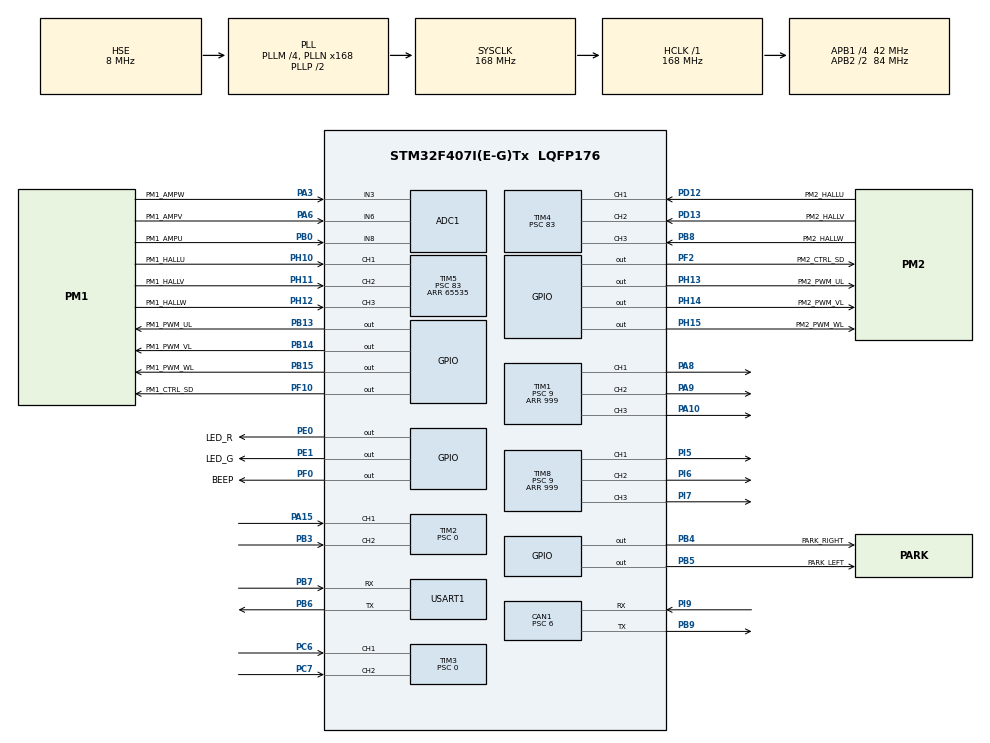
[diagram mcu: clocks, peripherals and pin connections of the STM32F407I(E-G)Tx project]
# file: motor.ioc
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ADC1.Channel-0\#ChannelRegularConversion=ADC_CHANNEL_8
ADC1.Channel-4\#ChannelRegularConversion=ADC_CHANNEL_6
ADC1.Channel-5\#ChannelRegularConversion=ADC_CHANNEL_3
ADC1.ClockPrescaler=ADC_CLOCK_SYNC_PCLK_DIV8
ADC1.ContinuousConvMode=ENABLE
ADC1.DMAContinuousRequests=ENABLE
ADC1.EOCSelection=ADC_EOC_SEQ_CONV
ADC1.ExternalTrigConv=ADC_SOFTWARE_START
ADC1.InjNumberOfConversion=0
ADC1.NbrOfConversion=3
ADC1.NbrOfConversionFlag=1
ADC1.Rank-0\#ChannelRegularConversion=1
ADC1.Rank-4\#ChannelRegularConversion=2
ADC1.Rank-5\#ChannelRegularConversion=3
ADC1.SamplingTime-0\#ChannelRegularConversion=ADC_SAMPLETIME_480CYCLES
ADC1.SamplingTime-4\#ChannelRegularConversion=ADC_SAMPLETIME_480CYCLES
ADC1.SamplingTime-5\#ChannelRegularConversion=ADC_SAMPLETIME_480CYCLES
ADC1.ScanConvMode=ENABLE
ADC1.master=1
CAN1.ABOM=ENABLE
CAN1.BS1=CAN_BS1_4TQ
CAN1.BS2=CAN_BS2_2TQ
CAN1.CalculateBaudRate=1000000
CAN1.CalculateTimeBit=1000
CAN1.CalculateTimeQuantum=142.85714285714286
CAN1.Prescaler=6
Dma.ADC1.2.Direction=DMA_PERIPH_TO_MEMORY
Dma.ADC1.2.FIFOMode=DMA_FIFOMODE_DISABLE
Dma.ADC1.2.Instance=DMA2_Stream0
Dma.ADC1.2.MemDataAlignment=DMA_MDATAALIGN_HALFWORD
Dma.ADC1.2.MemInc=DMA_MINC_ENABLE
Dma.ADC1.2.Mode=DMA_CIRCULAR
Dma.ADC1.2.PeriphDataAlignment=DMA_PDATAALIGN_HALFWORD
Dma.ADC1.2.PeriphInc=DMA_PINC_DISABLE
Dma.ADC1.2.Priority=DMA_PRIORITY_LOW
Dma.Request0=USART1_TX
Dma.Request1=USART1_RX
Dma.Request2=ADC1
Dma.USART1_RX.1.Direction=DMA_PERIPH_TO_MEMORY
Dma.USART1_RX.1.FIFOMode=DMA_FIFOMODE_DISABLE
Dma.USART1_RX.1.Instance=DMA2_Stream2
Dma.USART1_RX.1.MemDataAlignment=DMA_MDATAALIGN_BYTE
Dma.USART1_RX.1.MemInc=DMA_MINC_ENABLE
Dma.USART1_RX.1.Mode=DMA_NORMAL
Dma.USART1_RX.1.PeriphDataAlignment=DMA_PDATAALIGN_BYTE
Dma.USART1_RX.1.PeriphInc=DMA_PINC_DISABLE
Dma.USART1_RX.1.Priority=DMA_PRIORITY_LOW
Dma.USART1_TX.0.Direction=DMA_MEMORY_TO_PERIPH
Dma.USART1_TX.0.FIFOMode=DMA_FIFOMODE_DISABLE
Dma.USART1_TX.0.Instance=DMA2_Stream7
Dma.USART1_TX.0.MemDataAlignment=DMA_MDATAALIGN_BYTE
Dma.USART1_TX.0.MemInc=DMA_MINC_ENABLE
Dma.USART1_TX.0.Mode=DMA_NORMAL
Dma.USART1_TX.0.PeriphDataAlignment=DMA_PDATAALIGN_BYTE
Dma.USART1_TX.0.PeriphInc=DMA_PINC_DISABLE
Dma.USART1_TX.0.Priority=DMA_PRIORITY_LOW
FREERTOS.Tasks01=defaultTask,24,128,StartDefaultTask,Default,NULL,Dynamic,NULL,NULL
FREERTOS.configGENERATE_RUN_TIME_STATS=1
FREERTOS.configRECORD_STACK_HIGH_ADDRESS=1
FREERTOS.configTIMER_TASK_PRIORITY=25
FREERTOS.configTIMER_TASK_STACK_DEPTH=512
Mcu.Family=STM32F4
Mcu.Name=STM32F407I(E-G)Tx
Mcu.Package=LQFP176
NVIC.ADC_IRQn=true\:5\:0\:false\:false\:true\:true\:true\:true\:true
NVIC.CAN1_RX0_IRQn=true\:7\:0\:true\:false\:true\:true\:true\:true\:true
NVIC.CAN1_TX_IRQn=true\:7\:0\:true\:false\:true\:true\:true\:true\:true
NVIC.DMA2_Stream0_IRQn=true\:5\:0\:false\:false\:true\:true\:false\:true\:true
NVIC.DMA2_Stream2_IRQn=true\:5\:0\:true\:false\:true\:true\:false\:true\:true
NVIC.DMA2_Stream7_IRQn=true\:5\:0\:true\:false\:true\:true\:false\:true\:true
NVIC.PriorityGroup=NVIC_PRIORITYGROUP_4
NVIC.TIM1_UP_TIM10_IRQn=true\:5\:0\:true\:false\:true\:true\:true\:true\:true
NVIC.TIM4_IRQn=true\:5\:0\:true\:false\:true\:true\:true\:true\:true
NVIC.TIM5_IRQn=true\:5\:0\:true\:false\:true\:true\:true\:true\:true
NVIC.TIM7_IRQn=true\:0\:0\:true\:false\:true\:false\:false\:true\:true
NVIC.TIM8_UP_TIM13_IRQn=true\:5\:0\:true\:false\:true\:true\:true\:true\:true
NVIC.TimeBase=TIM7_IRQn
NVIC.TimeBaseIP=TIM7
NVIC.USART1_IRQn=true\:7\:0\:true\:false\:true\:true\:true\:true\:true
PA10.GPIO_Speed=GPIO_SPEED_FREQ_VERY_HIGH
PA10.Signal=S_TIM1_CH3
PA13.Mode=Serial_Wire
PA13.Signal=SYS_JTMS-SWDIO
PA14.Mode=Serial_Wire
PA14.Signal=SYS_JTCK-SWCLK
PA15.Signal=S_TIM2_CH1_ETR
PA3.GPIO_Label=PM1_AMPW 
PA3.Signal=ADCx_IN3
PA6.GPIO_Label=PM1_AMPV
PA6.Signal=ADCx_IN6
PA8.GPIO_Speed=GPIO_SPEED_FREQ_VERY_HIGH
PA8.Signal=S_TIM1_CH1
PA9.GPIO_Speed=GPIO_SPEED_FREQ_VERY_HIGH
PA9.Signal=S_TIM1_CH2
PB0.GPIO_Label=PM1_AMPU
PB0.Signal=ADCx_IN8
PB13.GPIO_Label=PM1_PWM_UL
PB13.GPIO_Speed=GPIO_SPEED_FREQ_VERY_HIGH
PB13.Signal=GPIO_Output
PB14.GPIO_Label=PM1_PWM_VL
PB14.GPIO_Speed=GPIO_SPEED_FREQ_VERY_HIGH
PB14.Signal=GPIO_Output
PB15.GPIO_Label=PM1_PWM_WL
PB15.GPIO_Speed=GPIO_SPEED_FREQ_VERY_HIGH
PB15.Signal=GPIO_Output
PB3.Signal=S_TIM2_CH2
PB4.GPIO_Label=PARK_RIGHT
PB4.GPIO_PuPd=GPIO_PULLUP
PB4.PinState=GPIO_PIN_RESET
PB4.Signal=GPIO_Output
PB5.GPIO_Label=PARK_LEFT
PB5.GPIO_PuPd=GPIO_PULLUP
PB5.PinState=GPIO_PIN_RESET
PB5.Signal=GPIO_Output
PB6.Mode=Asynchronous
PB6.Signal=USART1_TX
PB7.Mode=Asynchronous
PB7.Signal=USART1_RX
PB8.GPIO_Label=PM2_HALLW
PB8.GPIO_PuPd=GPIO_NOPULL
PB8.GPIO_Speed=GPIO_SPEED_FREQ_VERY_HIGH
PB8.Signal=S_TIM4_CH3
PB9.Mode=CAN_Activate
PB9.Signal=CAN1_TX
PC6.Signal=S_TIM3_CH1
PC7.Signal=S_TIM3_CH2
PD12.GPIO_Label=PM2_HALLU
PD12.GPIO_PuPd=GPIO_NOPULL
PD12.GPIO_Speed=GPIO_SPEED_FREQ_VERY_HIGH
PD12.Signal=S_TIM4_CH1
PD13.GPIO_Label=PM2_HALLV
PD13.GPIO_Speed=GPIO_SPEED_FREQ_VERY_HIGH
PD13.Signal=S_TIM4_CH2
PE0.GPIO_Label=LED_R
PE0.GPIO_ModeDefaultOutputPP=GPIO_MODE_OUTPUT_OD
PE0.GPIO_PuPd=GPIO_PULLUP
PE0.PinState=GPIO_PIN_SET
PE0.Signal=GPIO_Output
PE1.GPIO_Label=LED_G
PE1.GPIO_ModeDefaultOutputPP=GPIO_MODE_OUTPUT_OD
PE1.GPIO_PuPd=GPIO_PULLUP
PE1.PinState=GPIO_PIN_SET
PE1.Signal=GPIO_Output
PF0.GPIO_Label=BEEP
PF0.GPIO_PuPd=GPIO_PULLUP
PF0.Signal=GPIO_Output
PF10.GPIO_Label=PM1_CTRL_SD
PF10.GPIO_Speed=GPIO_SPEED_FREQ_HIGH
PF10.PinState=GPIO_PIN_RESET
PF10.Signal=GPIO_Output
PF2.GPIO_Label=PM2_CTRL_SD
PF2.GPIO_Speed=GPIO_SPEED_FREQ_HIGH
PF2.Signal=GPIO_Output
PH0-OSC_IN.Mode=HSE-External-Oscillator
PH0-OSC_IN.Signal=RCC_OSC_IN
PH1-OSC_OUT.Mode=HSE-External-Oscillator
PH1-OSC_OUT.Signal=RCC_OSC_OUT
PH10.GPIO_Label=PM1_HALLU
PH10.GPIO_PuPd=GPIO_NOPULL
PH10.GPIO_Speed=GPIO_SPEED_FREQ_VERY_HIGH
PH10.Signal=S_TIM5_CH1
PH11.GPIO_Label=PM1_HALLV
PH11.GPIO_PuPd=GPIO_NOPULL
PH11.GPIO_Speed=GPIO_SPEED_FREQ_VERY_HIGH
PH11.Signal=S_TIM5_CH2
PH12.GPIO_Label=PM1_HALLW
PH12.GPIO_PuPd=GPIO_NOPULL
PH12.GPIO_Speed=GPIO_SPEED_FREQ_VERY_HIGH
PH12.Signal=S_TIM5_CH3
PH13.GPIO_Label=PM2_PWM_UL
PH13.GPIO_Speed=GPIO_SPEED_FREQ_VERY_HIGH
PH13.Signal=GPIO_Output
PH14.GPIO_Label=PM2_PWM_VL
PH14.GPIO_Speed=GPIO_SPEED_FREQ_VERY_HIGH
PH14.Signal=GPIO_Output
PH15.GPIO_Label=PM2_PWM_WL
PH15.GPIO_Speed=GPIO_SPEED_FREQ_VERY_HIGH
PH15.Signal=GPIO_Output
PI5.Signal=S_TIM8_CH1
PI6.Signal=S_TIM8_CH2
PI7.Signal=S_TIM8_CH3
PI9.Mode=CAN_Activate
PI9.Signal=CAN1_RX
ProjectManager.HeapSize=0x400
ProjectManager.StackSize=0x800
ProjectManager.TargetToolchain=CMake
RCC.48MHZClocksFreq_Value=84000000
RCC.AHBFreq_Value=168000000
RCC.APB1CLKDivider=RCC_HCLK_DIV4
RCC.APB1Freq_Value=42000000
RCC.APB1TimFreq_Value=84000000
RCC.APB2CLKDivider=RCC_HCLK_DIV2
RCC.APB2Freq_Value=84000000
RCC.APB2TimFreq_Value=168000000
RCC.CortexFreq_Value=168000000
RCC.HCLKFreq_Value=168000000
RCC.HSE_VALUE=8000000
RCC.HSI_VALUE=16000000
RCC.LSE_VALUE=32768
RCC.PLLM=4
RCC.PLLN=168
RCC.PLLSourceVirtual=RCC_PLLSOURCE_HSE
RCC.SYSCLKFreq_VALUE=168000000
RCC.SYSCLKSource=RCC_SYSCLKSOURCE_PLLCLK
RCC.VCOOutputFreq_Value=336000000
SH.ADCx_IN3.0=ADC1_IN3,IN3
SH.ADCx_IN6.0=ADC1_IN6,IN6
SH.ADCx_IN8.0=ADC1_IN8,IN8
SH.S_TIM1_CH1.0=TIM1_CH1,PWM Generation1 CH1
SH.S_TIM1_CH2.0=TIM1_CH2,PWM Generation2 CH2
SH.S_TIM1_CH3.0=TIM1_CH3,PWM Generation3 CH3
SH.S_TIM2_CH1_ETR.0=TIM2_CH1,Encoder_Interface
SH.S_TIM2_CH2.0=TIM2_CH2,Encoder_Interface
SH.S_TIM3_CH1.0=TIM3_CH1,Encoder_Interface
SH.S_TIM3_CH2.0=TIM3_CH2,Encoder_Interface
SH.S_TIM4_CH1.0=TIM4_CH1,Xored_Inputs_Hall_Sensor_Interface
SH.S_TIM4_CH2.0=TIM4_CH2,Xored_Inputs_Hall_Sensor_Interface
SH.S_TIM4_CH3.0=TIM4_CH3,Xored_Inputs_Hall_Sensor_Interface
SH.S_TIM5_CH1.0=TIM5_CH1,Xored_Inputs_Hall_Sensor_Interface
SH.S_TIM5_CH2.0=TIM5_CH2,Xored_Inputs_Hall_Sensor_Interface
SH.S_TIM5_CH3.0=TIM5_CH3,Xored_Inputs_Hall_Sensor_Interface
SH.S_TIM8_CH1.0=TIM8_CH1,PWM Generation1 CH1
SH.S_TIM8_CH2.0=TIM8_CH2,PWM Generation2 CH2
SH.S_TIM8_CH3.0=TIM8_CH3,PWM Generation3 CH3
TIM1.Channel-PWM\ Generation1\ CH1=TIM_CHANNEL_1
TIM1.Channel-PWM\ Generation2\ CH2=TIM_CHANNEL_2
TIM1.Channel-PWM\ Generation3\ CH3=TIM_CHANNEL_3
TIM1.Period=999
TIM1.Prescaler=9
TIM2.EncoderMode=TIM_ENCODERMODE_TI12
TIM2.IC1Filter=4
TIM2.IC2Filter=4
TIM2.Period=65535
TIM2.Prescaler=0
TIM3.EncoderMode=TIM_ENCODERMODE_TI12
TIM3.IC1Filter=4
TIM3.IC2Filter=4
TIM3.Prescaler=0
TIM4.IC1Filter=4
TIM4.Prescaler=83
TIM5.IC1Filter=4
TIM5.Period=65535
TIM5.Prescaler=83
TIM8.Channel-PWM\ Generation1\ CH1=TIM_CHANNEL_1
TIM8.Channel-PWM\ Generation2\ CH2=TIM_CHANNEL_2
TIM8.Channel-PWM\ Generation3\ CH3=TIM_CHANNEL_3
TIM8.Period=999
TIM8.Prescaler=9
USART1.VirtualMode=VM_ASYNC
VP_FREERTOS_VS_CMSIS_V2.Mode=CMSIS_V2
VP_SYS_VS_tim7.Mode=TIM7
VP_TIM1_VS_ClockSourceINT.Mode=Internal
VP_TIM4_VS_ClockSourceINT.Mode=Internal
VP_TIM5_VS_ClockSourceINT.Mode=Internal
VP_TIM8_VS_ClockSourceINT.Mode=Internal
board=custom

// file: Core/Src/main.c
/* USER CODE BEGIN Header */
/**
  ******************************************************************************
  * @file           : main.c
  * @brief          : Main program body
  ******************************************************************************
  * @attention
  *
  * Copyright (c) 2026 STMicroelectronics.
  * All rights reserved.
  *
  * This software is licensed under terms that can be found in the LICENSE file
  * in the root directory of this software component.
  * If no LICENSE file comes with this software, it is provided AS-IS.
  *
  ******************************************************************************
  */
/* USER CODE END Header */
#include "main.h"
#include "cmsis_os.h"
#include "adc.h"
#include "can.h"
#include "dma.h"
#include "tim.h"
#include "usart.h"
#include "gpio.h"
#include "iwdg.h"

/* USER CODE BEGIN PD */

// 看门狗配置
#define IWDG_TIMEOUT_MS  1000  // 看门狗超时时间

/* USER CODE END PD */

IWDG_HandleTypeDef hiwdg;

void SystemClock_Config(void);
void MX_FREERTOS_Init(void);
void MX_IWDG_Init(void);

/* USER CODE BEGIN 0 */

/**
 * @brief 独立看门狗初始化
 * @note LSI = 32kHz, 预分频 = 256, 重装载值 = 125
 *       超时时间 = (1/32000) * 256 * 125 ≈ 1s
 */
void MX_IWDG_Init(void)
{
    hiwdg.Instance = IWDG;
    hiwdg.Init.Prescaler = IWDG_PRESCALER_256;
    hiwdg.Init.Reload = 125;  // 32kHz / 256 / 125 ≈ 1s
    if (HAL_IWDG_Init(&hiwdg) != HAL_OK)
    {
        Error_Handler();
    }
}

/* USER CODE END 0 */

int main(void)
{

  /* MCU Configuration--------------------------------------------------------*/

  /* Reset of all peripherals, Initializes the Flash interface and the Systick. */
  HAL_Init();

  /* Configure the system clock */
  SystemClock_Config();

  /* Initialize all configured peripherals */
  MX_GPIO_Init();
  MX_DMA_Init();
  MX_CAN1_Init();
  MX_TIM1_Init();
  MX_TIM8_Init();
  MX_USART1_UART_Init();
  MX_TIM4_Init();
  MX_TIM5_Init();
  MX_ADC1_Init();
  MX_TIM2_Init();
  MX_TIM3_Init();

  /* Init scheduler */
  MX_IWDG_Init();  // 初始化看门狗
  osKernelInitialize();  /* Call init function for freertos objects (in cmsis_os2.c) */
  MX_FREERTOS_Init();

  /* Start scheduler */
  osKernelStart();

  /* We should never get here as control is now taken by the scheduler */

  /* Infinite loop */
  while (1)
  {

  }
}

void SystemClock_Config(void)
{
  RCC_OscInitTypeDef RCC_OscInitStruct = {0};
  RCC_ClkInitTypeDef RCC_ClkInitStruct = {0};

  /** Configure the main internal regulator output voltage
  */
  __HAL_RCC_PWR_CLK_ENABLE();
  __HAL_PWR_VOLTAGESCALING_CONFIG(PWR_REGULATOR_VOLTAGE_SCALE1);

  /** Initializes the RCC Oscillators according to the specified parameters
  * in the RCC_OscInitTypeDef structure.
  */
  RCC_OscInitStruct.OscillatorType = RCC_OSCILLATORTYPE_HSE;
  RCC_OscInitStruct.HSEState = RCC_HSE_ON;
  RCC_OscInitStruct.PLL.PLLState = RCC_PLL_ON;
  RCC_OscInitStruct.PLL.PLLSource = RCC_PLLSOURCE_HSE;
  RCC_OscInitStruct.PLL.PLLM = 4;
  RCC_OscInitStruct.PLL.PLLN = 168;
  RCC_OscInitStruct.PLL.PLLP = RCC_PLLP_DIV2;
  RCC_OscInitStruct.PLL.PLLQ = 4;
  if (HAL_RCC_OscConfig(&RCC_OscInitStruct) != HAL_OK)
  {
    Error_Handler();
  }

  /** Initializes the CPU, AHB and APB buses clocks
  */
  RCC_ClkInitStruct.ClockType = RCC_CLOCKTYPE_HCLK|RCC_CLOCKTYPE_SYSCLK
                              |RCC_CLOCKTYPE_PCLK1|RCC_CLOCKTYPE_PCLK2;
  RCC_ClkInitStruct.SYSCLKSource = RCC_SYSCLKSOURCE_PLLCLK;
  RCC_ClkInitStruct.AHBCLKDivider = RCC_SYSCLK_DIV1;
  RCC_ClkInitStruct.APB1CLKDivider = RCC_HCLK_DIV4;
  RCC_ClkInitStruct.APB2CLKDivider = RCC_HCLK_DIV2;

  if (HAL_RCC_ClockConfig(&RCC_ClkInitStruct, FLASH_LATENCY_5) != HAL_OK)
  {
    Error_Handler();
  }
}

void HAL_TIM_PeriodElapsedCallback(TIM_HandleTypeDef *htim)
{
  if (htim->Instance == TIM7)
  {
    HAL_IncTick();
  }
}

void Error_Handler(void)
{
  __disable_irq();
  while (1)
  {
  }
}

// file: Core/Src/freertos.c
/* USER CODE BEGIN Header */
/**
  ******************************************************************************
  * File Name          : freertos.c
  * Description        : Code for freertos applications
  ******************************************************************************
  * @attention
  *
  * Copyright (c) 2026 STMicroelectronics.
  * All rights reserved.
  *
  * This software is licensed under terms that can be found in the LICENSE file
  * in the root directory of this software component.
  * If no LICENSE file comes with this software, it is provided AS-IS.
  *
  ******************************************************************************
  */
/* USER CODE END Header */

#include "FreeRTOS.h"
#include "task.h"
#include "main.h"
#include "cmsis_os.h"

/* USER CODE BEGIN Includes */

#include "queue.h"
#include "TaskCanInfo.h"
#include "TaskMotor.h"
#include "TaskSeriel.h"
#include "TaskSbwControl.h"
/* USER CODE END Includes */

/* USER CODE BEGIN Variables */
TaskHandle_t g_testTask;
/* USER CODE END Variables */
/* Definitions for defaultTask */
osThreadId_t defaultTaskHandle;
const osThreadAttr_t defaultTask_attributes = {
  .name = "defaultTask",
  .stack_size = 128 * 4,
  .priority = (osPriority_t) osPriorityNormal,
};

/* USER CODE BEGIN FunctionPrototypes */
void vTaskTest(void *argument);
/* USER CODE END FunctionPrototypes */

void StartDefaultTask(void *argument);

void MX_FREERTOS_Init(void); /* (MISRA C 2004 rule 8.1) */

/* Hook prototypes */
void configureTimerForRunTimeStats(void);
unsigned long getRunTimeCounterValue(void);

/* USER CODE BEGIN 1 */
/* Functions needed when configGENERATE_RUN_TIME_STATS is on */
__weak void configureTimerForRunTimeStats(void)
{

}

__weak unsigned long getRunTimeCounterValue(void)
{
return 0;
}
/* USER CODE END 1 */

void MX_FREERTOS_Init(void) {

  /* Create the thread(s) */
  /* creation of defaultTask */
  defaultTaskHandle = osThreadNew(StartDefaultTask, NULL, &defaultTask_attributes);

}

void StartDefaultTask(void *argument)
{
  /* USER CODE BEGIN StartDefaultTask */
  taskENTER_CRITICAL();

  canTxQueue = xQueueCreate(10, sizeof(CAN_Message_t*));
  vQueueAddToRegistry(canTxQueue, "CAN Tx Queue");
  canRxQueue = xQueueCreate(10, sizeof(CAN_Message_t));
  vQueueAddToRegistry(canRxQueue, "CAN Rx Queue");

  // xTaskCreate(vTaskTest,"test Task", 128, NULL, osPriorityNormal, &g_testTask);
  xTaskCreate(vTask_ADC_Sample,"ADC Sample Task", 512, NULL, osPriorityNormal, NULL);
  xTaskCreate(vTaskCanInfo,"CAN Info Task", 128, NULL, osPriorityNormal, &g_TaskCanInfo);
  xTaskCreate(vTaskSeriel,"Serial Task", 128, NULL, osPriorityNormal, &g_TaskSeriel);
  xTaskCreate(vTaskMotor,"Motor Task", 512, NULL, osPriorityNormal, &g_TaskMotor);
  xTaskCreate(vTask_Data_Send, "Data Send Task", 256, NULL, osPriorityNormal, NULL);
  xTaskCreate(vTaskSbwControl, "SbW Control Task", 256, NULL, osPriorityNormal+2, NULL);
  taskEXIT_CRITICAL();
  /* Infinite loop */
  vTaskDelete(NULL);
  /* USER CODE END StartDefaultTask */
}

/* USER CODE BEGIN Application */
void vTaskTest(void *argument)
{
  xQueueHandle queue = xQueueCreate(10, sizeof(int));
  vQueueAddToRegistry(queue, "TestQueue");
  for(;;)
  {
    CAN_Message_t* message = pvPortMalloc(sizeof(CAN_Message_t));
    message->StdId = 0xFF;
    message->Len = 8;
    for (int i = 0; i < 8; i++) {
        message->Data[i] = i;
    }
    xQueueSend(canTxQueue, &message, portMAX_DELAY);
    // HAL_GPIO_WritePin(BEEP_GPIO_Port, BEEP_Pin, HAL_GPIO_ReadPin(PM1_HALLU_GPIO_Port, PM1_HALLU_Pin));

    vTaskDelay(500);
  }
}
/* USER CODE END Application */
